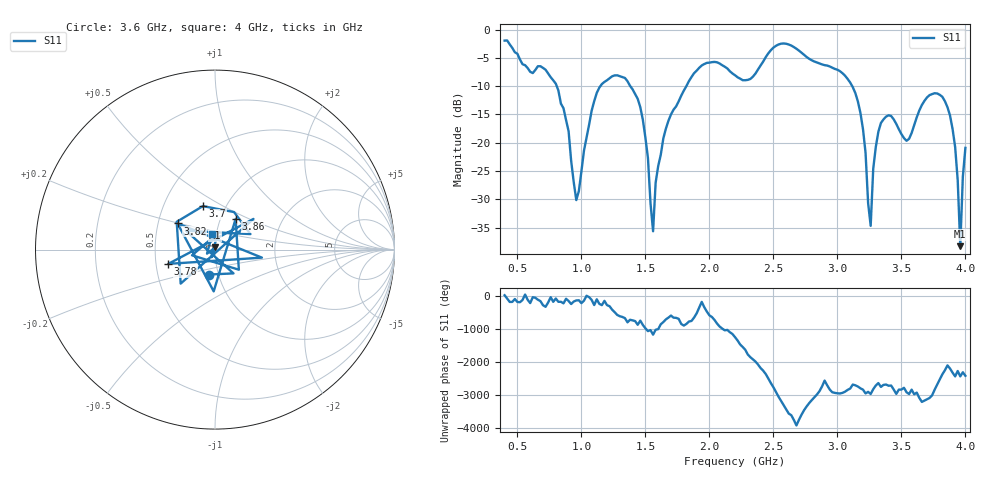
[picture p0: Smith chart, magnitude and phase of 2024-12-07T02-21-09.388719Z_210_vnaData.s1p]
!Created with skrf (http://scikit-rf.org).
# Hz S RI R 50.0
!freq ReS11 ImS11
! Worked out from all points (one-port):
!   181 points, 400 MHz to 4 GHz, reference 50 ohm
!   lowest |S11| = -38.3 dB at 3.96 GHz (marker M1), VSWR 1.02, Z = 50.2 + j1.21 ohm
!   |S11| at or under -10 dB: 807.4 MHz to 1.148 GHz (340.7 MHz wide, 34.8 % of centre); 1.382 GHz to 1.82 GHz (438.1 MHz wide, 27.4 % of centre); 3.116 GHz to end of sweep
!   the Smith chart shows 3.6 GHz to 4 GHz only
!   S11 on the Smith chart (normalised r, x): 3.6 GHz: 0.90, -0.25; 3.7 GHz: 0.78, +0.40; 3.78 GHz: 0.58, -0.10; 3.82 GHz: 0.63, +0.20; 3.86 GHz: 1.18, +0.42; 4 GHz: 0.96, +0.17
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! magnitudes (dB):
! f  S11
! 400 MHz  -1.9
! 860 MHz  -13.9
! 960 MHz  -30.1
! 1.12 GHz  -11.2
! 1.3 GHz  -8.2
! 1.46 GHz  -13.7
! 1.52 GHz  -22.7
! 1.56 GHz  -35.7
! 1.58 GHz  -27.0
! 1.64 GHz  -19.2
! 1.76 GHz  -12.7
! 1.96 GHz  -6.1
! 2.2 GHz  -8.1
! 2.66 GHz  -3.1
! 3.1 GHz  -9.4
! 3.2 GHz  -17.6
! 3.26 GHz  -34.7
! 3.28 GHz  -24.6
! 3.34 GHz  -16.5
! 3.56 GHz  -19.3
! 3.6 GHz  -16.9
! 3.7 GHz  -12.0
! 3.78 GHz  -11.3
! 3.82 GHz  -11.9
! 3.86 GHz  -13.7
! 3.92 GHz  -20.8
! 3.96 GHz  -38.3
! 4 GHz  -20.9
